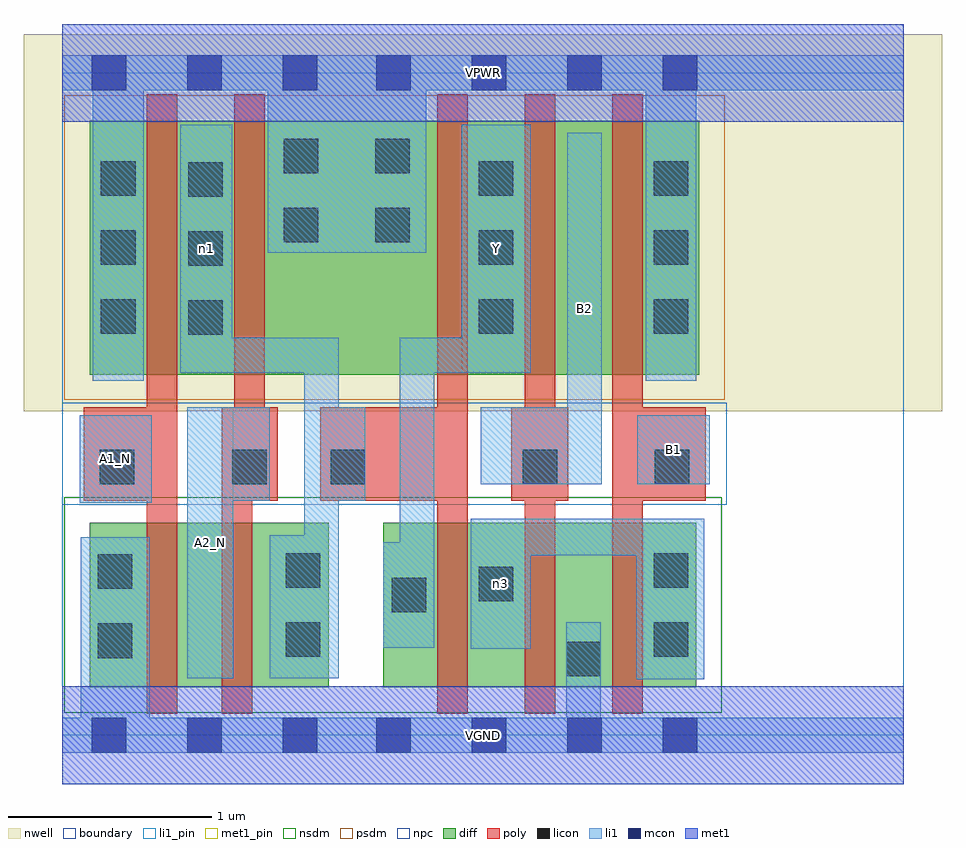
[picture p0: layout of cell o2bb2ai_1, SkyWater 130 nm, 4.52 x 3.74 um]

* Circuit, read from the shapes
.subckt o2bb2ai_1 A1_N A2_N B1 B2 VGND VPWR Y n1 n3
XM1 n2 A1_N VGND VSUBS sky130_fd_pr__nfet_01v8 w=0.81 l=0.15
XM2 n1 A2_N n2 VSUBS sky130_fd_pr__nfet_01v8 w=0.81 l=0.15
XM3 n3 n1 Y VSUBS sky130_fd_pr__nfet_01v8 w=0.81 l=0.15
XM4 VGND B2 n3 VSUBS sky130_fd_pr__nfet_01v8 w=0.81 l=0.15
XM5 n3 B1 VGND VSUBS sky130_fd_pr__nfet_01v8 w=0.81 l=0.15
XM6 n1 A1_N VPWR n4 sky130_fd_pr__pfet_01v8 w=1.25 l=0.15
XM7 VPWR A2_N n1 n4 sky130_fd_pr__pfet_01v8 w=1.25 l=0.15
XM8 Y n1 VPWR n4 sky130_fd_pr__pfet_01v8 w=1.25 l=0.15
XM9 n5 B2 Y n4 sky130_fd_pr__pfet_01v8 w=1.25 l=0.15
XM10 VPWR B1 n5 n4 sky130_fd_pr__pfet_01v8 w=1.25 l=0.15
.ends

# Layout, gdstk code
import gdstk
lib = gdstk.Library(unit=1e-6, precision=1e-09)
def R(c, l, rs):  # rectangles x0, y0, x1, y1
    for r in rs: c.add(gdstk.rectangle(r[:2], r[2:], *l))
def A(c, l, x, y, w, h, nx, ny, dx, dy):  # array of equal rectangles
    R(c, l, [(x+i*dx, y+j*dy, x+i*dx+w, y+j*dy+h) for i in range(nx) for j in range(ny)])
nwell = (64, 20)
diff = (65, 20)
poly = (66, 20)
licon = (66, 44)
li1_pin = (67, 16)
li1 = (67, 20)
mcon = (67, 44)
met1_pin = (68, 16)
met1 = (68, 20)
nsdm = (93, 44)
psdm = (94, 20)
npc = (95, 20)
boundary = (235, 4)

o2bb2ai_1 = lib.new_cell('o2bb2ai_1')
R(o2bb2ai_1, nwell, [(-0.19,1.595,4.33,3.45), (0,1.595,4.14,3.45)])
R(o2bb2ai_1, diff, [(0.135,0.235,1.31,1.045), (1.58,0.235,3.12,1.045), (0.135,1.775,3.135,3.025)])
A(o2bb2ai_1, poly, 1.845, 0.105, 0.15, 3.05, 3, 1, 0.43, 0)
R(o2bb2ai_1, poly, [(0.415,0.105,0.565,3.155), (0.785,0.105,0.935,1.615), (0.105,1.155,0.565,1.615), (0.785,1.155,1.06,1.615), (0.845,1.155,0.995,3.155), (1.27,1.155,1.995,1.615), (2.21,1.155,2.49,1.615), (2.705,1.155,3.165,1.615)])
A(o2bb2ai_1, licon, 0.62, 1.97, 0.17, 0.17, 1, 3, 0, 0.34)
A(o2bb2ai_1, licon, 0.19, 1.975, 0.17, 0.17, 1, 3, 0, 0.34)
A(o2bb2ai_1, licon, 2.05, 1.975, 0.17, 0.17, 1, 3, 0, 0.34)
A(o2bb2ai_1, licon, 2.91, 1.975, 0.17, 0.17, 1, 3, 0, 0.34)
R(o2bb2ai_1, licon, [(2.48,0.29,2.65,0.46), (0.175,0.38,0.345,0.55), (1.1,0.385,1.27,0.555), (2.91,0.385,3.08,0.555), (1.62,0.605,1.79,0.775), (2.05,0.66,2.22,0.83), (0.175,0.72,0.345,0.89), (1.1,0.725,1.27,0.895), (2.91,0.725,3.08,0.895), (0.185,1.235,0.355,1.405), (0.835,1.235,1.005,1.405), (1.32,1.235,1.49,1.405), (2.265,1.235,2.435,1.405), (2.915,1.235,3.085,1.405), (1.09,2.425,1.26,2.595), (1.54,2.425,1.71,2.595), (1.09,2.765,1.26,2.935), (1.54,2.765,1.71,2.935)])
R(o2bb2ai_1, li1_pin, [(0.615,0.28,0.84,1.615), (0.085,1.145,0.44,1.575), (2.485,1.235,2.655,2.965), (2.83,1.235,3.185,1.575), (1.965,1.785,2.305,3.005)])
R(o2bb2ai_1, li1, [(0,-0.085,4.14,0.085), (0.09,-0.085,0.43,0.975), (2.48,-0.085,2.65,0.555), (2.825,0.275,3.16,1.065), (0.615,0.28,0.84,1.615), (1.02,0.28,1.36,0.985), (1.19,0.28,1.36,1.955), (2.01,0.425,2.305,1.065), (1.58,0.43,1.83,0.95), (1.66,0.43,1.83,1.955), (2.01,0.885,3.16,1.065), (0.085,1.145,0.44,1.575), (0.615,1.155,1.02,1.615), (1.19,1.155,1.49,1.615), (2.06,1.235,2.655,1.615), (2.485,1.235,2.655,2.965), (2.83,1.235,3.185,1.575), (0.15,1.745,0.4,3.345), (2.87,1.745,3.12,3.345), (0.58,1.785,0.835,3.005), (0.58,1.785,1.36,1.955), (1.66,1.785,2.305,1.955), (1.965,1.785,2.305,3.005), (1.01,2.375,1.79,3.345), (0,3.175,4.14,3.345)])
A(o2bb2ai_1, mcon, 0.145, -0.085, 0.17, 0.17, 3, 2, 0.47, 3.26)
A(o2bb2ai_1, mcon, 1.545, -0.085, 0.17, 0.17, 4, 2, 0.47, 3.26)
R(o2bb2ai_1, met1_pin, [(0,-0.24,4.14,0.24), (0,3.02,4.14,3.5)])
R(o2bb2ai_1, met1, [(0,-0.24,4.14,0.24), (0,3.02,4.14,3.5)])
R(o2bb2ai_1, nsdm, [(0.01,0.11,3.245,1.17)])
R(o2bb2ai_1, psdm, [(0.01,1.65,3.26,3.15)])
R(o2bb2ai_1, npc, [(0,1.135,3.27,1.635)])
R(o2bb2ai_1, boundary, [(0,0,4.14,3.26)])
o2bb2ai_1.add(gdstk.Label('A1_N', (0.262,1.36), layer=67, texttype=5))
o2bb2ai_1.add(gdstk.Label('A2_N', (0.727,0.947), layer=67, texttype=5))
o2bb2ai_1.add(gdstk.Label('B1', (3.007,1.405), layer=67, texttype=5))
o2bb2ai_1.add(gdstk.Label('B2', (2.57,2.1), layer=67, texttype=5))
o2bb2ai_1.add(gdstk.Label('Y', (2.135,2.395), layer=67, texttype=5))
o2bb2ai_1.add(gdstk.Label('n3', (2.157,0.745), layer=67, texttype=5))
o2bb2ai_1.add(gdstk.Label('n1', (0.707,2.395), layer=67, texttype=5))
o2bb2ai_1.add(gdstk.Label('VPWR', (2.07,3.26), layer=68, texttype=5))
o2bb2ai_1.add(gdstk.Label('VGND', (2.07,0), layer=68, texttype=5))
o2bb2ai_1.add(gdstk.Label('A1_N', (0.262,1.36), layer=67, texttype=16))
o2bb2ai_1.add(gdstk.Label('A2_N', (0.727,0.947), layer=67, texttype=16))
o2bb2ai_1.add(gdstk.Label('B1', (3.007,1.405), layer=67, texttype=16))
o2bb2ai_1.add(gdstk.Label('B2', (2.57,2.1), layer=67, texttype=16))
o2bb2ai_1.add(gdstk.Label('Y', (2.135,2.395), layer=67, texttype=16))
o2bb2ai_1.add(gdstk.Label('VPWR', (2.07,3.26), layer=68, texttype=16))
o2bb2ai_1.add(gdstk.Label('VGND', (2.07,0), layer=68, texttype=16))

lib.write_gds('o2bb2ai_1.gds')
